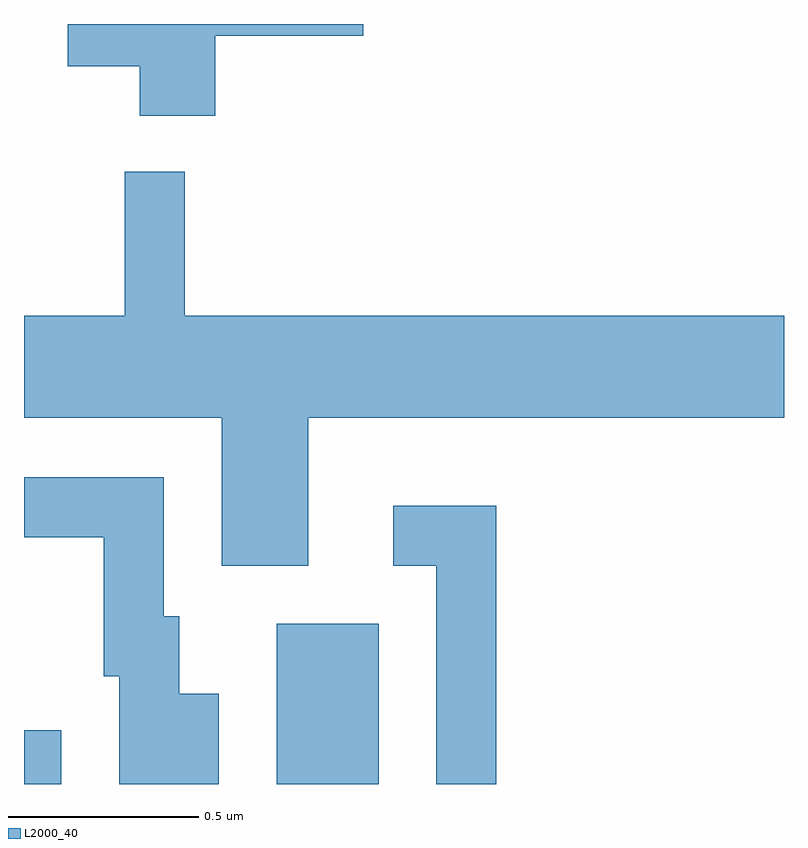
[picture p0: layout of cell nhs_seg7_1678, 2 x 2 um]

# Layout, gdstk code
import gdstk
lib = gdstk.Library(unit=1e-6, precision=1e-09)
def R(c, l, rs):  # rectangles x0, y0, x1, y1
    for r in rs: c.add(gdstk.rectangle(r[:2], r[2:], *l))
def P(c, l, *ps):  # polygons
    for p in ps: c.add(gdstk.Polygon(p, *l))
L2000_40 = (2000, 40)

nhs_seg7_1678 = lib.new_cell('nhs_seg7_1678')
R(nhs_seg7_1678, L2000_40, [(197.611,1702.252,197.709,1702.393), (198.276,1702.252,198.544,1702.674)])
P(nhs_seg7_1678, L2000_40, [(198.114,1704.221),(198.504,1704.221),(198.504,1704.252),(197.726,1704.252),(197.726,1704.141),(197.916,1704.141),(197.916,1704.011),(198.114,1704.011)],
  [(198.359,1703.216),(199.611,1703.216),(199.611,1703.484),(198.034,1703.484),(198.034,1703.863),(197.876,1703.863),(197.876,1703.484),(197.611,1703.484),(197.611,1703.216),(198.131,1703.216),(198.131,1702.826),(198.359,1702.826)],
  [(198.124,1702.489),(198.019,1702.489),(198.019,1702.694),(197.979,1702.694),(197.979,1703.059),(197.611,1703.059),(197.611,1702.901),(197.821,1702.901),(197.821,1702.536),(197.861,1702.536),(197.861,1702.252),(198.124,1702.252)],
  [(198.854,1702.984),(198.583,1702.984),(198.583,1702.826),(198.696,1702.826),(198.696,1702.252),(198.854,1702.252)])

lib.write_gds('nhs_seg7_1678.gds')
